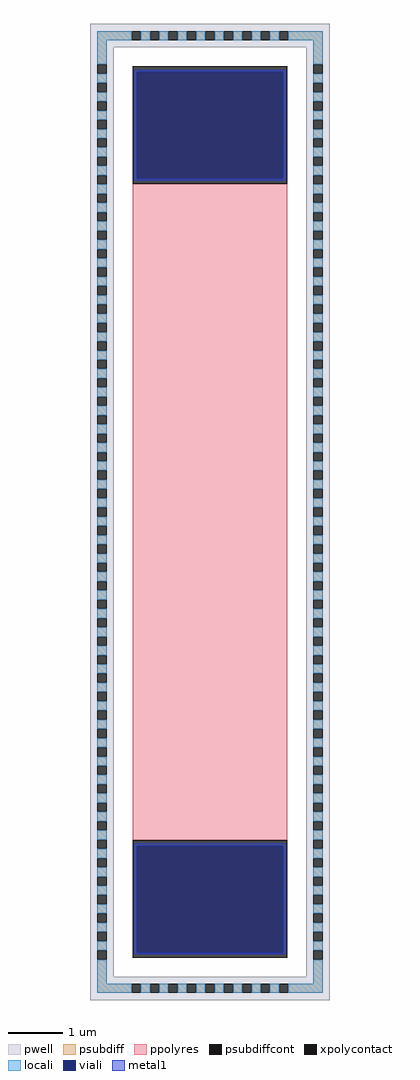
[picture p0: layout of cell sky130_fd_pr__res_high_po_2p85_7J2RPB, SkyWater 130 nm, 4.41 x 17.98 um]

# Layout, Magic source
magic
tech sky130A
magscale 1 2
<< pwell >>
rect -441 1712 441 1798
rect -441 -1712 -355 1712
rect 355 -1712 441 1712
rect -441 -1798 441 -1712
<< psubdiff >>
rect -415 1738 -289 1772
rect -255 1738 -221 1772
rect -187 1738 -153 1772
rect -119 1738 -85 1772
rect -51 1738 -17 1772
rect 17 1738 51 1772
rect 85 1738 119 1772
rect 153 1738 187 1772
rect 221 1738 255 1772
rect 289 1738 415 1772
rect -415 1649 -381 1738
rect 381 1649 415 1738
rect -415 1581 -381 1615
rect -415 1513 -381 1547
rect -415 1445 -381 1479
rect -415 1377 -381 1411
rect -415 1309 -381 1343
rect -415 1241 -381 1275
rect -415 1173 -381 1207
rect -415 1105 -381 1139
rect -415 1037 -381 1071
rect -415 969 -381 1003
rect -415 901 -381 935
rect -415 833 -381 867
rect -415 765 -381 799
rect -415 697 -381 731
rect -415 629 -381 663
rect -415 561 -381 595
rect -415 493 -381 527
rect -415 425 -381 459
rect -415 357 -381 391
rect -415 289 -381 323
rect -415 221 -381 255
rect -415 153 -381 187
rect -415 85 -381 119
rect -415 17 -381 51
rect -415 -51 -381 -17
rect -415 -119 -381 -85
rect -415 -187 -381 -153
rect -415 -255 -381 -221
rect -415 -323 -381 -289
rect -415 -391 -381 -357
rect -415 -459 -381 -425
rect -415 -527 -381 -493
rect -415 -595 -381 -561
rect -415 -663 -381 -629
rect -415 -731 -381 -697
rect -415 -799 -381 -765
rect -415 -867 -381 -833
rect -415 -935 -381 -901
rect -415 -1003 -381 -969
rect -415 -1071 -381 -1037
rect -415 -1139 -381 -1105
rect -415 -1207 -381 -1173
rect -415 -1275 -381 -1241
rect -415 -1343 -381 -1309
rect -415 -1411 -381 -1377
rect -415 -1479 -381 -1445
rect -415 -1547 -381 -1513
rect -415 -1615 -381 -1581
rect 381 1581 415 1615
rect 381 1513 415 1547
rect 381 1445 415 1479
rect 381 1377 415 1411
rect 381 1309 415 1343
rect 381 1241 415 1275
rect 381 1173 415 1207
rect 381 1105 415 1139
rect 381 1037 415 1071
rect 381 969 415 1003
rect 381 901 415 935
rect 381 833 415 867
rect 381 765 415 799
rect 381 697 415 731
rect 381 629 415 663
rect 381 561 415 595
rect 381 493 415 527
rect 381 425 415 459
rect 381 357 415 391
rect 381 289 415 323
rect 381 221 415 255
rect 381 153 415 187
rect 381 85 415 119
rect 381 17 415 51
rect 381 -51 415 -17
rect 381 -119 415 -85
rect 381 -187 415 -153
rect 381 -255 415 -221
rect 381 -323 415 -289
rect 381 -391 415 -357
rect 381 -459 415 -425
rect 381 -527 415 -493
rect 381 -595 415 -561
rect 381 -663 415 -629
rect 381 -731 415 -697
rect 381 -799 415 -765
rect 381 -867 415 -833
rect 381 -935 415 -901
rect 381 -1003 415 -969
rect 381 -1071 415 -1037
rect 381 -1139 415 -1105
rect 381 -1207 415 -1173
rect 381 -1275 415 -1241
rect 381 -1343 415 -1309
rect 381 -1411 415 -1377
rect 381 -1479 415 -1445
rect 381 -1547 415 -1513
rect 381 -1615 415 -1581
rect -415 -1738 -381 -1649
rect 381 -1738 415 -1649
rect -415 -1772 -289 -1738
rect -255 -1772 -221 -1738
rect -187 -1772 -153 -1738
rect -119 -1772 -85 -1738
rect -51 -1772 -17 -1738
rect 17 -1772 51 -1738
rect 85 -1772 119 -1738
rect 153 -1772 187 -1738
rect 221 -1772 255 -1738
rect 289 -1772 415 -1738
<< psubdiffcont >>
rect -289 1738 -255 1772
rect -221 1738 -187 1772
rect -153 1738 -119 1772
rect -85 1738 -51 1772
rect -17 1738 17 1772
rect 51 1738 85 1772
rect 119 1738 153 1772
rect 187 1738 221 1772
rect 255 1738 289 1772
rect -415 1615 -381 1649
rect -415 1547 -381 1581
rect -415 1479 -381 1513
rect -415 1411 -381 1445
rect -415 1343 -381 1377
rect -415 1275 -381 1309
rect -415 1207 -381 1241
rect -415 1139 -381 1173
rect -415 1071 -381 1105
rect -415 1003 -381 1037
rect -415 935 -381 969
rect -415 867 -381 901
rect -415 799 -381 833
rect -415 731 -381 765
rect -415 663 -381 697
rect -415 595 -381 629
rect -415 527 -381 561
rect -415 459 -381 493
rect -415 391 -381 425
rect -415 323 -381 357
rect -415 255 -381 289
rect -415 187 -381 221
rect -415 119 -381 153
rect -415 51 -381 85
rect -415 -17 -381 17
rect -415 -85 -381 -51
rect -415 -153 -381 -119
rect -415 -221 -381 -187
rect -415 -289 -381 -255
rect -415 -357 -381 -323
rect -415 -425 -381 -391
rect -415 -493 -381 -459
rect -415 -561 -381 -527
rect -415 -629 -381 -595
rect -415 -697 -381 -663
rect -415 -765 -381 -731
rect -415 -833 -381 -799
rect -415 -901 -381 -867
rect -415 -969 -381 -935
rect -415 -1037 -381 -1003
rect -415 -1105 -381 -1071
rect -415 -1173 -381 -1139
rect -415 -1241 -381 -1207
rect -415 -1309 -381 -1275
rect -415 -1377 -381 -1343
rect -415 -1445 -381 -1411
rect -415 -1513 -381 -1479
rect -415 -1581 -381 -1547
rect -415 -1649 -381 -1615
rect 381 1615 415 1649
rect 381 1547 415 1581
rect 381 1479 415 1513
rect 381 1411 415 1445
rect 381 1343 415 1377
rect 381 1275 415 1309
rect 381 1207 415 1241
rect 381 1139 415 1173
rect 381 1071 415 1105
rect 381 1003 415 1037
rect 381 935 415 969
rect 381 867 415 901
rect 381 799 415 833
rect 381 731 415 765
rect 381 663 415 697
rect 381 595 415 629
rect 381 527 415 561
rect 381 459 415 493
rect 381 391 415 425
rect 381 323 415 357
rect 381 255 415 289
rect 381 187 415 221
rect 381 119 415 153
rect 381 51 415 85
rect 381 -17 415 17
rect 381 -85 415 -51
rect 381 -153 415 -119
rect 381 -221 415 -187
rect 381 -289 415 -255
rect 381 -357 415 -323
rect 381 -425 415 -391
rect 381 -493 415 -459
rect 381 -561 415 -527
rect 381 -629 415 -595
rect 381 -697 415 -663
rect 381 -765 415 -731
rect 381 -833 415 -799
rect 381 -901 415 -867
rect 381 -969 415 -935
rect 381 -1037 415 -1003
rect 381 -1105 415 -1071
rect 381 -1173 415 -1139
rect 381 -1241 415 -1207
rect 381 -1309 415 -1275
rect 381 -1377 415 -1343
rect 381 -1445 415 -1411
rect 381 -1513 415 -1479
rect 381 -1581 415 -1547
rect 381 -1649 415 -1615
rect -289 -1772 -255 -1738
rect -221 -1772 -187 -1738
rect -153 -1772 -119 -1738
rect -85 -1772 -51 -1738
rect -17 -1772 17 -1738
rect 51 -1772 85 -1738
rect 119 -1772 153 -1738
rect 187 -1772 221 -1738
rect 255 -1772 289 -1738
<< xpolycontact >>
rect -285 1210 285 1642
rect -285 -1642 285 -1210
<< ppolyres >>
rect -285 -1210 285 1210
<< locali >>
rect -415 1738 -289 1772
rect -255 1738 -221 1772
rect -187 1738 -153 1772
rect -119 1738 -85 1772
rect -51 1738 -17 1772
rect 17 1738 51 1772
rect 85 1738 119 1772
rect 153 1738 187 1772
rect 221 1738 255 1772
rect 289 1738 415 1772
rect -415 1649 -381 1738
rect 381 1649 415 1738
rect -415 1581 -381 1615
rect -415 1513 -381 1547
rect -415 1445 -381 1479
rect -415 1377 -381 1411
rect -415 1309 -381 1343
rect -415 1241 -381 1275
rect 381 1581 415 1615
rect 381 1513 415 1547
rect 381 1445 415 1479
rect 381 1377 415 1411
rect 381 1309 415 1343
rect 381 1241 415 1275
rect -415 1173 -381 1207
rect -415 1105 -381 1139
rect -415 1037 -381 1071
rect -415 969 -381 1003
rect -415 901 -381 935
rect -415 833 -381 867
rect -415 765 -381 799
rect -415 697 -381 731
rect -415 629 -381 663
rect -415 561 -381 595
rect -415 493 -381 527
rect -415 425 -381 459
rect -415 357 -381 391
rect -415 289 -381 323
rect -415 221 -381 255
rect -415 153 -381 187
rect -415 85 -381 119
rect -415 17 -381 51
rect -415 -51 -381 -17
rect -415 -119 -381 -85
rect -415 -187 -381 -153
rect -415 -255 -381 -221
rect -415 -323 -381 -289
rect -415 -391 -381 -357
rect -415 -459 -381 -425
rect -415 -527 -381 -493
rect -415 -595 -381 -561
rect -415 -663 -381 -629
rect -415 -731 -381 -697
rect -415 -799 -381 -765
rect -415 -867 -381 -833
rect -415 -935 -381 -901
rect -415 -1003 -381 -969
rect -415 -1071 -381 -1037
rect -415 -1139 -381 -1105
rect -415 -1207 -381 -1173
rect 381 1173 415 1207
rect 381 1105 415 1139
rect 381 1037 415 1071
rect 381 969 415 1003
rect 381 901 415 935
rect 381 833 415 867
rect 381 765 415 799
rect 381 697 415 731
rect 381 629 415 663
rect 381 561 415 595
rect 381 493 415 527
rect 381 425 415 459
rect 381 357 415 391
rect 381 289 415 323
rect 381 221 415 255
rect 381 153 415 187
rect 381 85 415 119
rect 381 17 415 51
rect 381 -51 415 -17
rect 381 -119 415 -85
rect 381 -187 415 -153
rect 381 -255 415 -221
rect 381 -323 415 -289
rect 381 -391 415 -357
rect 381 -459 415 -425
rect 381 -527 415 -493
rect 381 -595 415 -561
rect 381 -663 415 -629
rect 381 -731 415 -697
rect 381 -799 415 -765
rect 381 -867 415 -833
rect 381 -935 415 -901
rect 381 -1003 415 -969
rect 381 -1071 415 -1037
rect 381 -1139 415 -1105
rect 381 -1207 415 -1173
rect -415 -1275 -381 -1241
rect -415 -1343 -381 -1309
rect -415 -1411 -381 -1377
rect -415 -1479 -381 -1445
rect -415 -1547 -381 -1513
rect -415 -1615 -381 -1581
rect 381 -1275 415 -1241
rect 381 -1343 415 -1309
rect 381 -1411 415 -1377
rect 381 -1479 415 -1445
rect 381 -1547 415 -1513
rect 381 -1615 415 -1581
rect -415 -1738 -381 -1649
rect 381 -1738 415 -1649
rect -415 -1772 -289 -1738
rect -255 -1772 -221 -1738
rect -187 -1772 -153 -1738
rect -119 -1772 -85 -1738
rect -51 -1772 -17 -1738
rect 17 -1772 51 -1738
rect 85 -1772 119 -1738
rect 153 -1772 187 -1738
rect 221 -1772 255 -1738
rect 289 -1772 415 -1738
<< viali >>
rect -269 1228 269 1622
rect -269 -1623 269 -1229
<< metal1 >>
rect -281 1622 281 1630
rect -281 1228 -269 1622
rect 269 1228 281 1622
rect -281 1221 281 1228
rect -281 -1229 281 -1221
rect -281 -1623 -269 -1229
rect 269 -1623 281 -1229
rect -281 -1630 281 -1623
<< properties >>
string FIXED_BBOX -398 -1755 398 1755
<< end >>
